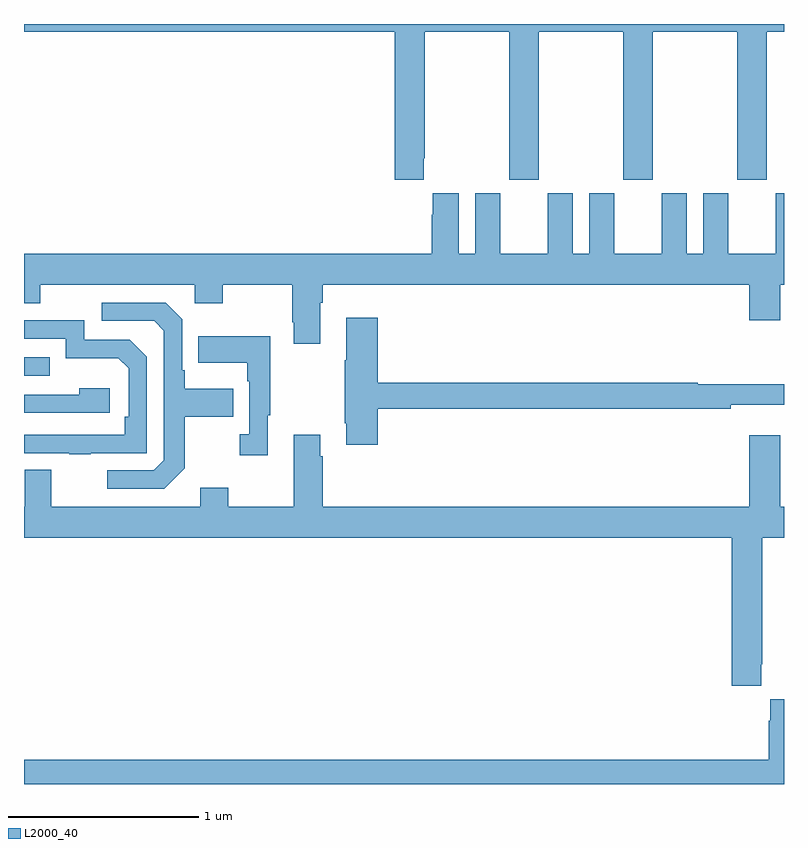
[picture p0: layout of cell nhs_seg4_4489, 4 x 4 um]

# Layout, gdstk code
import gdstk
lib = gdstk.Library(unit=1e-6, precision=1e-09)
def R(c, l, rs):  # rectangles x0, y0, x1, y1
    for r in rs: c.add(gdstk.rectangle(r[:2], r[2:], *l))
def P(c, l, *ps):  # polygons
    for p in ps: c.add(gdstk.Polygon(p, *l))
L2000_40 = (2000, 40)

nhs_seg4_4489 = lib.new_cell('nhs_seg4_4489')
R(nhs_seg4_4489, L2000_40, [(353,755.049,353.135,755.145)])
P(nhs_seg4_4489, L2000_40, [(353,756.86),(354.95,756.86),(354.95,756.081),(355.105,756.081),(355.105,756.193),(355.11,756.193),(355.11,756.86),(355.555,756.86),(355.555,756.081),(355.71,756.081),(355.71,756.86),(356.155,756.86),(356.155,756.081),(356.31,756.081),(356.31,756.86),(356.755,756.86),(356.755,756.081),(356.91,756.081),(356.91,756.86),(357,756.86),(357,756.9),(353,756.9)],
  [(354.559,755.432),(354.572,755.432),(354.572,755.528),(356.816,755.528),(356.816,755.34),(356.98,755.34),(356.98,755.528),(357,755.528),(357,756.01),(356.957,756.01),(356.957,755.692),(356.707,755.692),(356.707,756.01),(356.576,756.01),(356.576,755.692),(356.488,755.692),(356.488,756.01),(356.357,756.01),(356.357,755.692),(356.107,755.692),(356.107,756.01),(355.976,756.01),(355.976,755.692),(355.888,755.692),(355.888,756.01),(355.757,756.01),(355.757,755.692),(355.507,755.692),(355.507,756.01),(355.376,756.01),(355.376,755.692),(355.288,755.692),(355.288,756.01),(355.151,756.01),(355.151,755.897),(355.145,755.897),(355.145,755.692),(353,755.692),(353,755.429),(353.085,755.429),(353.085,755.528),(353.898,755.528),(353.898,755.429),(354.045,755.429),(354.045,755.528),(354.412,755.528),(354.412,755.329),(354.419,755.329),(354.419,755.217),(354.559,755.217)],
  [(353.845,754.561),(353.845,754.834),(354.101,754.834),(354.101,754.981),(353.845,754.981),(353.845,755.077),(353.832,755.077),(353.832,755.346),(353.745,755.433),(353.409,755.433),(353.409,755.337),(353.685,755.337),(353.736,755.286),(353.736,754.605),(353.682,754.551),(353.439,754.551),(353.439,754.455),(353.739,754.455)],
  [(354.863,754.876),(356.72,754.876),(356.72,754.895),(357,754.895),(357,755.005),(356.546,755.005),(356.546,755.012),(354.863,755.012),(354.863,755.353),(354.695,755.353),(354.695,755.129),(354.688,755.129),(354.688,754.798),(354.695,754.798),(354.695,754.686),(354.863,754.686)],
  [(353.351,754.641),(353.646,754.641),(353.646,755.148),(353.556,755.238),(353.316,755.238),(353.316,755.34),(353,755.34),(353,755.244),(353.22,755.244),(353.22,755.141),(353.497,755.141),(353.55,755.088),(353.55,754.834),(353.53,754.834),(353.53,754.737),(353,754.737),(353,754.641),(353.239,754.641),(353.239,754.636),(353.351,754.636)],
  [(354.283,754.841),(354.295,754.841),(354.295,755.257),(353.917,755.257),(353.917,755.117),(354.174,755.117),(354.174,755.021),(354.186,755.021),(354.186,754.742),(354.135,754.742),(354.135,754.629),(354.283,754.629)],
  [(353.452,754.984),(353.291,754.984),(353.291,754.95),(353,754.95),(353,754.854),(353.452,754.854)],
  [(354.559,754.625),(354.559,754.738),(354.419,754.738),(354.419,754.36),(354.075,754.36),(354.075,754.459),(353.927,754.459),(353.927,754.36),(353.143,754.36),(353.143,754.555),(353.003,754.555),(353.003,754.36),(353,754.36),(353,754.196),(356.726,754.196),(356.726,753.417),(356.881,753.417),(356.881,753.529),(356.886,753.529),(356.886,754.196),(357,754.196),(357,754.36),(356.98,754.36),(356.98,754.735),(356.816,754.735),(356.816,754.36),(354.572,754.36),(354.572,754.625)],
  [(357,753.346),(356.927,753.346),(356.927,753.233),(356.921,753.233),(356.921,753.028),(353,753.028),(353,752.9),(357,752.9)])

lib.write_gds('nhs_seg4_4489.gds')
